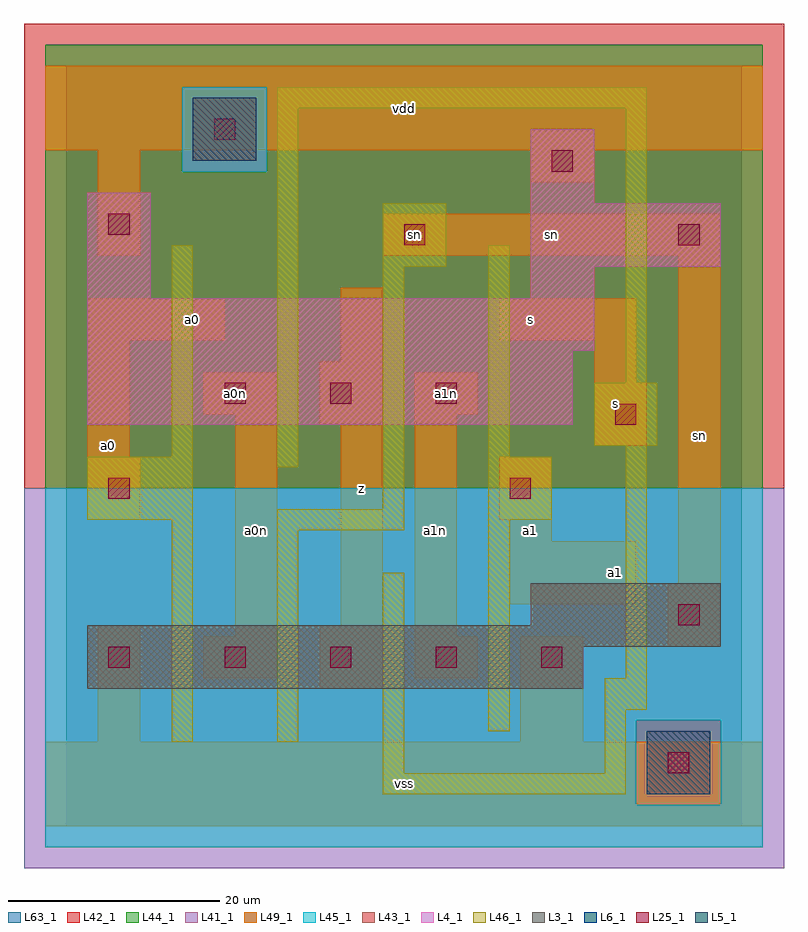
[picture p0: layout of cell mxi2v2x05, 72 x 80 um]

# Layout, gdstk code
import gdstk
lib = gdstk.Library(unit=1e-6, precision=1e-09)
def R(c, l, rs):  # rectangles x0, y0, x1, y1
    for r in rs: c.add(gdstk.rectangle(r[:2], r[2:], *l))
def A(c, l, x, y, w, h, nx, ny, dx, dy):  # array of equal rectangles
    R(c, l, [(x+i*dx, y+j*dy, x+i*dx+w, y+j*dy+h) for i in range(nx) for j in range(ny)])
L3_1 = (3, 1)
L4_1 = (4, 1)
L5_1 = (5, 1)
L6_1 = (6, 1)
L25_1 = (25, 1)
L41_1 = (41, 1)
L42_1 = (42, 1)
L43_1 = (43, 1)
L44_1 = (44, 1)
L45_1 = (45, 1)
L46_1 = (46, 1)
L49_1 = (49, 1)
L63_1 = (63, 1)

mxi2v2x05 = lib.new_cell('mxi2v2x05')
R(mxi2v2x05, L3_1, [(2,13,49,17), (2,17,62,19), (44,19,62,23)])
R(mxi2v2x05, L4_1, [(2,38,48,45), (2,45,50,50), (2,50,8,60), (44,50,50,53), (44,53,62,59), (44,59,50,66)])
R(mxi2v2x05, L5_1, [(12,63,18,69)])
R(mxi2v2x05, L6_1, [(55,3,61,9), (55,3,61,9)])
A(mxi2v2x05, L25_1, 15, 15, 2, 2, 4, 1, 10, 0)
A(mxi2v2x05, L25_1, 15, 40, 2, 2, 3, 1, 10, 0)
R(mxi2v2x05, L25_1, [(57,5,59,7), (4,15,6,17), (58,19,60,21), (4,31,6,33), (42,31,44,33), (52,38,54,40), (32,55,34,57), (58,55,60,57), (4,56,6,58), (46,62,48,64), (14,65,16,67)])
R(mxi2v2x05, L41_1, [(-4,-4,68,32)])
R(mxi2v2x05, L42_1, [(-4,32,68,76)])
R(mxi2v2x05, L43_1, [(55,3,61,9), (2,13,49,17), (2,17,62,19), (44,19,62,23), (2,38,48,45), (2,45,50,50), (2,50,8,60), (44,50,50,53), (44,53,62,59), (44,59,50,66), (12,63,18,69)])
R(mxi2v2x05, L44_1, [(54,2,62,10), (-2,32,66,62), (-2,62,11,70), (19,62,66,70), (-2,70,66,74)])
R(mxi2v2x05, L45_1, [(-2,-2,66,2), (-2,2,54,10), (62,2,66,10), (-2,10,66,32), (11,62,19,70)])
R(mxi2v2x05, L46_1, [(30,3,53,5), (30,5,32,24), (51,5,53,11), (10,8,12,29), (20,8,22,28), (40,9,42,29), (51,11,55,14), (53,14,55,36), (20,28,32,30), (2,29,12,35), (40,29,46,35), (30,30,32,53), (20,34,22,68), (10,35,12,55), (40,35,42,55), (50,36,56,42), (53,42,55,68), (30,53,36,59), (20,68,55,70)])
R(mxi2v2x05, L49_1, [(-2,0,66,8), (3,8,7,19), (43,8,49,18), (24,13,30,19), (13,14,20,18), (33,14,39,18), (57,17,62,23), (16,18,20,39), (33,18,37,39), (26,19,30,38), (42,21,54,27), (58,23,62,54), (42,27,46,29), (2,29,7,35), (41,29,46,35), (2,35,6,46), (50,36,55,42), (24,38,30,44), (13,39,20,43), (33,39,39,43), (50,42,54,46), (26,44,30,51), (2,46,15,50), (41,46,54,50), (3,54,7,64), (30,54,62,58), (44,61,50,64), (-2,64,66,72)])
R(mxi2v2x05, L63_1, [(0,0,64,72)])
mxi2v2x05.add(gdstk.Label('sn', (33,56), layer=49, texttype=1))
mxi2v2x05.add(gdstk.Label('a0', (4,36), layer=49, texttype=1))
mxi2v2x05.add(gdstk.Label('a0', (12,48), layer=49, texttype=1))
mxi2v2x05.add(gdstk.Label('z', (28,32), layer=49, texttype=1))
mxi2v2x05.add(gdstk.Label('a0n', (18,28), layer=49, texttype=1))
mxi2v2x05.add(gdstk.Label('a0n', (16,41), layer=49, texttype=1))
mxi2v2x05.add(gdstk.Label('vss', (32,4), layer=49, texttype=1))
mxi2v2x05.add(gdstk.Label('a1', (44,28), layer=49, texttype=1))
mxi2v2x05.add(gdstk.Label('a1n', (35,28), layer=49, texttype=1))
mxi2v2x05.add(gdstk.Label('a1n', (36,41), layer=49, texttype=1))
mxi2v2x05.add(gdstk.Label('s', (44,48), layer=49, texttype=1))
mxi2v2x05.add(gdstk.Label('vdd', (32,68), layer=49, texttype=1))
mxi2v2x05.add(gdstk.Label('a1', (52,24), layer=49, texttype=1))
mxi2v2x05.add(gdstk.Label('s', (52,40), layer=49, texttype=1))
mxi2v2x05.add(gdstk.Label('sn', (46,56), layer=49, texttype=1))
mxi2v2x05.add(gdstk.Label('sn', (60,37), layer=49, texttype=1))

lib.write_gds('mxi2v2x05.gds')
